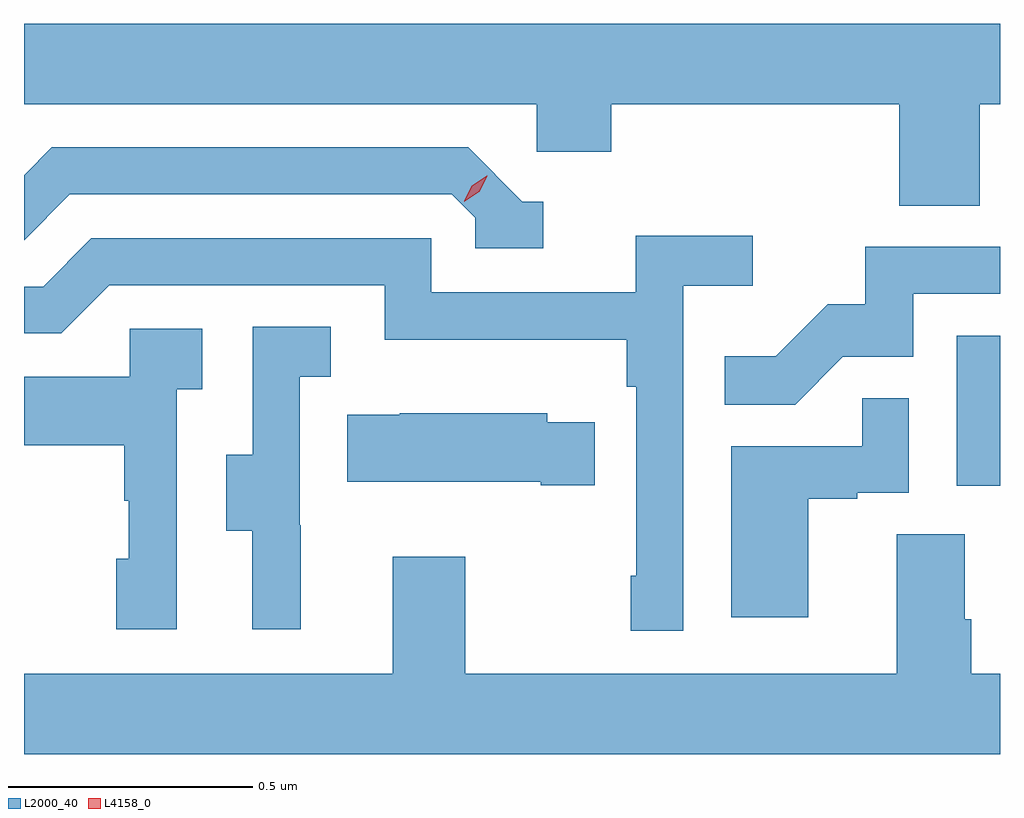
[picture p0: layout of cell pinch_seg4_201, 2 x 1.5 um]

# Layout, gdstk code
import gdstk
lib = gdstk.Library(unit=1e-6, precision=1e-09)
def R(c, l, rs):  # rectangles x0, y0, x1, y1
    for r in rs: c.add(gdstk.rectangle(r[:2], r[2:], *l))
def P(c, l, *ps):  # polygons
    for p in ps: c.add(gdstk.Polygon(p, *l))
L2000_40 = (2000, 40)
L4158_0 = (4158, 0)

pinch_seg4_201 = lib.new_cell('pinch_seg4_201')
R(pinch_seg4_201, L2000_40, [(975.218,817.35,975.307,817.657)])
P(pinch_seg4_201, L2000_40, [(975.266,818.132),(975.307,818.132),(975.307,818.296),(973.307,818.296),(973.307,818.132),(974.358,818.132),(974.358,818.034),(974.51,818.034),(974.51,818.132),(975.101,818.132),(975.101,817.924),(975.266,817.924)],
  [(974.371,817.932),(974.328,817.932),(974.217,818.043),(973.364,818.043),(973.307,817.986),(973.307,817.853),(973.401,817.947),(974.184,817.947),(974.232,817.899),(974.232,817.836),(974.371,817.836)],
  [(974.658,817.76),(974.8,817.76),(974.8,817.862),(974.561,817.862),(974.561,817.746),(974.142,817.746),(974.142,817.857),(973.445,817.857),(973.346,817.758),(973.307,817.758),(973.307,817.662),(973.383,817.662),(973.482,817.761),(974.046,817.761),(974.046,817.649),(974.542,817.649),(974.542,817.553),(974.562,817.553),(974.562,817.165),(974.55,817.165),(974.55,817.053),(974.658,817.053)],
  [(974.985,817.614),(975.129,817.614),(975.129,817.743),(975.307,817.743),(975.307,817.839),(975.031,817.839),(975.031,817.722),(974.954,817.722),(974.847,817.615),(974.743,817.615),(974.743,817.516),(974.887,817.516)],
  [(973.874,817.269),(973.872,817.269),(973.872,817.573),(973.936,817.573),(973.936,817.676),(973.776,817.676),(973.776,817.413),(973.721,817.413),(973.721,817.258),(973.775,817.258),(973.775,817.056),(973.874,817.056)],
  [(973.62,817.547),(973.672,817.547),(973.672,817.671),(973.524,817.671),(973.524,817.573),(973.307,817.573),(973.307,817.433),(973.512,817.433),(973.512,817.319),(973.522,817.319),(973.522,817.2),(973.496,817.2),(973.496,817.056),(973.62,817.056)],
  [(974.914,817.323),(975.014,817.323),(975.014,817.335),(975.12,817.335),(975.12,817.529),(975.025,817.529),(975.025,817.431),(974.756,817.431),(974.756,817.08),(974.914,817.08)],
  [(974.477,817.48),(974.379,817.48),(974.379,817.498),(974.077,817.498),(974.077,817.495),(973.969,817.495),(973.969,817.358),(974.366,817.358),(974.366,817.351),(974.477,817.351)],
  [(975.307,816.964),(975.248,816.964),(975.248,817.076),(975.235,817.076),(975.235,817.25),(975.095,817.25),(975.095,816.964),(974.211,816.964),(974.211,817.204),(974.063,817.204),(974.063,816.964),(973.307,816.964),(973.307,816.8),(975.307,816.8)])
P(pinch_seg4_201, L4158_0, [(974.209,817.932),(974.209,817.933),(974.225,817.965),(974.255,817.985),(974.256,817.985),(974.256,817.984),(974.24,817.952),(974.209,817.932)])

lib.write_gds('pinch_seg4_201.gds')
